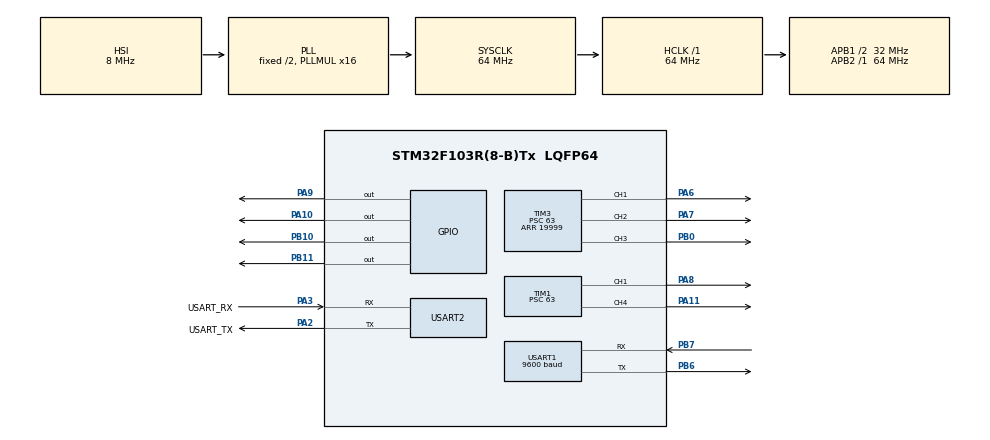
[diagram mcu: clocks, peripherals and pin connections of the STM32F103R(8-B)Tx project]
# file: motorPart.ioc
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Dma.Request0=USART1_RX
Dma.USART1_RX.0.Direction=DMA_PERIPH_TO_MEMORY
Dma.USART1_RX.0.Instance=DMA1_Channel5
Dma.USART1_RX.0.MemDataAlignment=DMA_MDATAALIGN_WORD
Dma.USART1_RX.0.MemInc=DMA_MINC_ENABLE
Dma.USART1_RX.0.Mode=DMA_CIRCULAR
Dma.USART1_RX.0.PeriphDataAlignment=DMA_PDATAALIGN_WORD
Dma.USART1_RX.0.PeriphInc=DMA_PINC_DISABLE
Dma.USART1_RX.0.Priority=DMA_PRIORITY_LOW
Mcu.Family=STM32F1
Mcu.Name=STM32F103R(8-B)Tx
Mcu.Package=LQFP64
NVIC.DMA1_Channel5_IRQn=true\:0\:0\:false\:false\:true\:false\:true\:true
NVIC.PriorityGroup=NVIC_PRIORITYGROUP_4
NVIC.USART1_IRQn=true\:0\:0\:false\:false\:true\:true\:true\:true
PA10.Signal=GPIO_Output
PA11.Signal=S_TIM1_CH4
PA13.GPIO_Label=TMS
PA13.Mode=Serial_Wire
PA13.Signal=SYS_JTMS-SWDIO
PA14.GPIO_Label=TCK
PA14.Mode=Serial_Wire
PA14.Signal=SYS_JTCK-SWCLK
PA2.GPIO_Label=USART_TX
PA2.GPIO_Mode=GPIO_MODE_AF_PP
PA2.GPIO_PuPd=GPIO_NOPULL
PA2.GPIO_Speed=GPIO_SPEED_FREQ_LOW
PA2.Mode=Asynchronous
PA2.Signal=USART2_TX
PA3.GPIO_Label=USART_RX
PA3.GPIO_Mode=GPIO_MODE_AF_PP
PA3.GPIO_PuPd=GPIO_NOPULL
PA3.GPIO_Speed=GPIO_SPEED_FREQ_LOW
PA3.Mode=Asynchronous
PA3.Signal=USART2_RX
PA6.Signal=S_TIM3_CH1
PA7.Signal=S_TIM3_CH2
PA8.Signal=S_TIM1_CH1
PA9.Signal=GPIO_Output
PB0.Signal=S_TIM3_CH3
PB10.Signal=GPIO_Output
PB11.Signal=GPIO_Output
PB3.GPIO_Label=SWO
PB3.Signal=SYS_JTDO-TRACESWO
PB6.Mode=Asynchronous
PB6.Signal=USART1_TX
PB7.Mode=Asynchronous
PB7.Signal=USART1_RX
PC14-OSC32_IN.Mode=LSE-External-Oscillator
PC14-OSC32_IN.Signal=RCC_OSC32_IN
PC15-OSC32_OUT.Mode=LSE-External-Oscillator
PC15-OSC32_OUT.Signal=RCC_OSC32_OUT
PD0-OSC_IN.Mode=HSE-External-Clock-Source
PD0-OSC_IN.Signal=RCC_OSC_IN
PD1-OSC_OUT.Mode=HSE-External-Clock-Source
PD1-OSC_OUT.Signal=RCC_OSC_OUT
ProjectManager.HeapSize=0x200
ProjectManager.StackSize=0x400
ProjectManager.TargetToolchain=STM32CubeIDE
RCC.AHBFreq_Value=64000000
RCC.APB1CLKDivider=RCC_HCLK_DIV2
RCC.APB1Freq_Value=32000000
RCC.APB1TimFreq_Value=64000000
RCC.APB2Freq_Value=64000000
RCC.APB2TimFreq_Value=64000000
RCC.HCLKFreq_Value=64000000
RCC.PLLMUL=RCC_PLL_MUL16
RCC.RTCClockSelection=RCC_RTCCLKSOURCE_LSE
RCC.SYSCLKFreq_VALUE=64000000
RCC.SYSCLKSource=RCC_SYSCLKSOURCE_PLLCLK
RCC.USBFreq_Value=64000000
SH.S_TIM1_CH1.0=TIM1_CH1,PWM Generation1 CH1
SH.S_TIM1_CH4.0=TIM1_CH4,PWM Generation4 CH4
SH.S_TIM3_CH1.0=TIM3_CH1,PWM Generation1 CH1
SH.S_TIM3_CH2.0=TIM3_CH2,PWM Generation2 CH2
SH.S_TIM3_CH3.0=TIM3_CH3,PWM Generation3 CH3
TIM1.Channel-PWM\ Generation1\ CH1=TIM_CHANNEL_1
TIM1.Channel-PWM\ Generation4\ CH4=TIM_CHANNEL_4
TIM1.Period=9999
TIM1.Prescaler=63
TIM1.Pulse-PWM\ Generation1\ CH1=1500
TIM1.Pulse-PWM\ Generation4\ CH4=1500
TIM3.Channel-PWM\ Generation1\ CH1=TIM_CHANNEL_1
TIM3.Channel-PWM\ Generation2\ CH2=TIM_CHANNEL_2
TIM3.Channel-PWM\ Generation3\ CH3=TIM_CHANNEL_3
TIM3.Period=19999
TIM3.Prescaler=63
TIM3.Pulse-PWM\ Generation1\ CH1=900
TIM3.Pulse-PWM\ Generation2\ CH2=2500
TIM3.Pulse-PWM\ Generation3\ CH3=1000
TIM4.Prescaler=63
USART1.BaudRate=9600
USART1.VirtualMode=VM_ASYNC
USART2.VirtualMode=VM_ASYNC
VP_TIM3_VS_ClockSourceINT.Mode=Internal
VP_TIM4_VS_ClockSourceINT.Mode=Internal
board=NUCLEO-F103RB

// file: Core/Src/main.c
/* USER CODE BEGIN Header */
/**
 ******************************************************************************
 * @file           : main.c
 * @brief          : Main program body
 ******************************************************************************
 * @attention
 *
 * Copyright (c) 2022 STMicroelectronics.
 * All rights reserved.
 *
 * This software is licensed under terms that can be found in the LICENSE file
 * in the root directory of this software component.
 * If no LICENSE file comes with this software, it is provided AS-IS.
 *
 ******************************************************************************
 */
/* USER CODE END Header */
#include "main.h"

/* USER CODE BEGIN Includes */
#include "string.h"
#include "stdbool.h"

/* USER CODE END Includes */

 TIM_HandleTypeDef htim1;
TIM_HandleTypeDef htim3;
TIM_HandleTypeDef htim4;

UART_HandleTypeDef huart1;
UART_HandleTypeDef huart2;
DMA_HandleTypeDef hdma_usart1_rx;

/* USER CODE BEGIN PV */
int step;
int survo1;
int survo2;
int survo3;
int wheel_X;
int wheel_Y;
int delay_time = 0;
int survo1Idx = 0;
int survo2Idx = 0;
int survo3Idx = 0;
int motor[7];
//={0,0,0,0,0,0,3}
int tmp_motor[7];
int dataSize;
int _step;
bool dir = true;
/* USER CODE END PV */

void SystemClock_Config(void);
static void MX_GPIO_Init(void);
static void MX_USART2_UART_Init(void);
static void MX_DMA_Init(void);
static void MX_USART1_UART_Init(void);
static void MX_TIM3_Init(void);
static void MX_TIM1_Init(void);
static void MX_TIM4_Init(void);

/* USER CODE BEGIN 0 */
//void control_stepMotor(int joystick1_X) {
//	if (joystick1_X == 1) {
//		TIM1->CCER = 784; // counterclockwise
//		TIM1->CCR2 = 5000;
//		TIM1->CCR3 = 5000;
//		TIM2->CCR3 = 5000;
//		TIM2->CCR4 = 5000;
//	} else if (joystick1_X == 0) {
//		TIM1->CCER = 0;
//		TIM1->CCR2 = 0;
//		TIM1->CCR3 = 0;
//		TIM2->CCR3 = 0;
//		TIM2->CCR4 = 0;
//	} else if (joystick1_X == 2) {
//		TIM1->CCER = 306; // clockwise
//		TIM1->CCR2 = 5000;
//		TIM1->CCR3 = 5000;
//		TIM2->CCR3 = 5000;
//		TIM2->CCR4 = 5000;
//	}
//	if (joystick1_X == 1) {
//		TIM1->CCER |= 0x02; // counterclockwise
//		TIM1->CCR2 = 5000;
//		TIM1->CCR3 = 5000;
//		TIM2->CCR3 = 5000;
//		TIM2->CCR4 = 5000;
//	} else if (joystick1_X == 0) {
//
//		TIM1->CCR2 = 0;
//		TIM1->CCR3 = 0;
//		TIM2->CCR3 = 0;
//		TIM2->CCR4 = 0;
//	} else if (joystick1_X == 2) {
//		TIM1->CCER &= ~0x02; // clockwise
//		TIM1->CCR2 = 5000;
//		TIM1->CCR3 = 5000;
//		TIM2->CCR3 = 5000;
//		TIM2->CCR4 = 5000;
//	}
//}
void us_delay(uint16_t delay) {
	TIM4->CNT = 0;
	while (TIM4->CNT < delay)
		;
}

void control_stepMotor(int joystick1_X) {

	if (joystick1_X == 1) { // counterclockwise
		dir = true;
	} else if (joystick1_X == 0) { // stop
		_step = 9;
	} else if (joystick1_X == 2) { // clockwise
		dir = false;
	}
	switch (_step) {
		case 0:
			HAL_GPIO_WritePin(GPIOA, GPIO_PIN_9, GPIO_PIN_SET);
			HAL_GPIO_WritePin(GPIOB, GPIO_PIN_10, GPIO_PIN_RESET);
			HAL_GPIO_WritePin(GPIOA, GPIO_PIN_10, GPIO_PIN_RESET);
			HAL_GPIO_WritePin(GPIOB, GPIO_PIN_11, GPIO_PIN_RESET);
			break;
		case 1:
			HAL_GPIO_WritePin(GPIOA, GPIO_PIN_9, GPIO_PIN_SET);
			HAL_GPIO_WritePin(GPIOB, GPIO_PIN_10, GPIO_PIN_SET);
			HAL_GPIO_WritePin(GPIOA, GPIO_PIN_10, GPIO_PIN_RESET);
			HAL_GPIO_WritePin(GPIOB, GPIO_PIN_11, GPIO_PIN_RESET);
			break;
		case 2:
			HAL_GPIO_WritePin(GPIOA, GPIO_PIN_9, GPIO_PIN_RESET);
			HAL_GPIO_WritePin(GPIOB, GPIO_PIN_10, GPIO_PIN_SET);
			HAL_GPIO_WritePin(GPIOA, GPIO_PIN_10, GPIO_PIN_RESET);
			HAL_GPIO_WritePin(GPIOB, GPIO_PIN_11, GPIO_PIN_RESET);
			break;
		case 3:
			HAL_GPIO_WritePin(GPIOA, GPIO_PIN_9, GPIO_PIN_RESET);
			HAL_GPIO_WritePin(GPIOB, GPIO_PIN_10, GPIO_PIN_SET);
			HAL_GPIO_WritePin(GPIOA, GPIO_PIN_10, GPIO_PIN_SET);
			HAL_GPIO_WritePin(GPIOB, GPIO_PIN_11, GPIO_PIN_RESET);
			break;
		case 4:
			HAL_GPIO_WritePin(GPIOA, GPIO_PIN_9, GPIO_PIN_RESET);
			HAL_GPIO_WritePin(GPIOB, GPIO_PIN_10, GPIO_PIN_RESET);
			HAL_GPIO_WritePin(GPIOA, GPIO_PIN_10, GPIO_PIN_SET);
			HAL_GPIO_WritePin(GPIOB, GPIO_PIN_11, GPIO_PIN_RESET);
			break;
		case 5:
			HAL_GPIO_WritePin(GPIOA, GPIO_PIN_9, GPIO_PIN_RESET);
			HAL_GPIO_WritePin(GPIOB, GPIO_PIN_10, GPIO_PIN_RESET);
			HAL_GPIO_WritePin(GPIOA, GPIO_PIN_10, GPIO_PIN_SET);
			HAL_GPIO_WritePin(GPIOB, GPIO_PIN_11, GPIO_PIN_SET);
			break;
		case 6:
			HAL_GPIO_WritePin(GPIOA, GPIO_PIN_9, GPIO_PIN_RESET);
			HAL_GPIO_WritePin(GPIOB, GPIO_PIN_10, GPIO_PIN_RESET);
			HAL_GPIO_WritePin(GPIOA, GPIO_PIN_10, GPIO_PIN_RESET);
			HAL_GPIO_WritePin(GPIOB, GPIO_PIN_11, GPIO_PIN_SET);
			break;
		case 7:
			HAL_GPIO_WritePin(GPIOA, GPIO_PIN_9, GPIO_PIN_SET);
			HAL_GPIO_WritePin(GPIOB, GPIO_PIN_10, GPIO_PIN_RESET);
			HAL_GPIO_WritePin(GPIOA, GPIO_PIN_10, GPIO_PIN_RESET);
			HAL_GPIO_WritePin(GPIOB, GPIO_PIN_11, GPIO_PIN_SET);
			break;
		default:
			HAL_GPIO_WritePin(GPIOA, GPIO_PIN_9, GPIO_PIN_RESET);
			HAL_GPIO_WritePin(GPIOB, GPIO_PIN_10, GPIO_PIN_RESET);
			HAL_GPIO_WritePin(GPIOA, GPIO_PIN_10, GPIO_PIN_RESET);
			HAL_GPIO_WritePin(GPIOB, GPIO_PIN_11, GPIO_PIN_RESET);
			break;
	}
	if (dir)
		_step++;
	else
		_step--;

	if (_step == 8)
		_step = 0;
	if (_step < 0)
		_step = 7;
	us_delay(2441);
}

void control_survoMotor(int joystick1_Y, int joystick2_X, int joystick2_Y) {
	//servo1
	if (joystick1_Y == 1) {
		TIM3->CCR1 = 899 + survo1Idx * 1;
		survo1Idx--;
		if (survo1Idx < 0)
			survo1Idx = 0;
	}
	else if (joystick1_Y == 2) {
		TIM3->CCR1 = 899 + survo1Idx * 1;
		survo1Idx++;
		if (survo1Idx > 999)
			survo1Idx = 999;
	}

	//servo2
	if (joystick2_X == 1) {
		TIM3->CCR2 = 699 + survo2Idx * 1.5;
		survo2Idx--;
		if (survo2Idx < 0)
			survo2Idx = 0;
	}
	else if (joystick2_X == 2) {
		TIM3->CCR2 = 699 + survo2Idx * 1.5;
		survo2Idx++;
		if (survo2Idx > 1799)
			survo2Idx = 1799;
	}

	//servo3
	if (joystick2_Y == 1) {
		TIM3->CCR3 = 999 + survo3Idx * 2;
		survo3Idx--;
		if (survo3Idx < 0)
			survo3Idx = 0;
	}
	else if (joystick2_Y == 2) {
		TIM3->CCR3 = 999 + survo3Idx * 2;
		survo3Idx++;
		if (survo3Idx > 750)
			survo3Idx = 750;
	}
}

void control_wheel(int joystick_X, int joystick_Y) {

	if ((joystick_X == 0) && (joystick_Y == 0)) { //STOP
		TIM1->CCR1 = 1500;
		TIM1->CCR4 = 1500;
	}
	if ((joystick_X == 0) && (joystick_Y == 1)) { //Go
		TIM1->CCR1 = 1700; //+200
		TIM1->CCR4 = 1300; //-200
	}
	if ((joystick_X == 1) && (joystick_Y == 1)) { //Go Left
		TIM1->CCR1 = 1600; //+100
		TIM1->CCR4 = 1300; //-200
	}
	if ((joystick_X == 2) && (joystick_Y == 1)) { //Go Right
		TIM1->CCR1 = 1700; //+200
		TIM1->CCR4 = 1400; //-100
	}
	if ((joystick_X == 1) && (joystick_Y == 0)) { //Left
		TIM1->CCR1 = 1300; //-200
		TIM1->CCR4 = 1300; //-200
	}
	if ((joystick_X == 2) && (joystick_Y == 0)) { //Right
		TIM1->CCR1 = 1700; //+200
		TIM1->CCR4 = 1700; //+200
	}
	if ((joystick_X == 0) && (joystick_Y == 2)) { //Back
		TIM1->CCR1 = 1400; //-100
		TIM1->CCR4 = 1600; //+100
	}
	if ((joystick_X == 1) && (joystick_Y == 2)) { //Back Left
		TIM1->CCR1 = 1450; //-50
		TIM1->CCR4 = 1600; //+100
	}
	if ((joystick_X == 2) && (joystick_Y == 2)) { //Back Right
		TIM1->CCR1 = 1400; //-100
		TIM1->CCR4 = 1550; //+50
	}
}

#ifdef __GNUC__
/* With GCC, small printf (option LD Linker->Libraries->Small printf
 set to 'Yes') calls __io_putchar() */
#define PUTCHAR_PROTOTYPE int __io_putchar(int ch)
#else
#define PUTCHAR_PROTOTYPE int fputc(int ch, FILE *f)
#endif /* __GNUC__ */

PUTCHAR_PROTOTYPE {
	/* Place your implementation of fputc here */
	/* e.g. write a character to the USART1 and Loop until the end of transmission */
	HAL_UART_Transmit(&huart2, (uint8_t*) &ch, 1, 0xFFFF);

	return ch;
}
//void HAL_UART_RxCpltCallback(UART_HandleTypeDef *huart)
//{
//	printf("%s\r\n",data);
//
//	HAL_UART_Receive_IT(huart, data, 14);
//
//}

/* USER CODE END 0 */

int main(void)
{

  /* MCU Configuration--------------------------------------------------------*/

  /* Reset of all peripherals, Initializes the Flash interface and the Systick. */
  HAL_Init();

  /* Configure the system clock */
  SystemClock_Config();

  /* Initialize all configured peripherals */
  MX_GPIO_Init();
  MX_USART2_UART_Init();
  MX_DMA_Init();
  MX_USART1_UART_Init();
  MX_TIM3_Init();
  MX_TIM1_Init();
  MX_TIM4_Init();
  /* USER CODE BEGIN 2 */
//	HAL_TIM_PWM_Start(&htim1, TIM_CHANNEL_2);
//	HAL_TIM_PWM_Start(&htim1, TIM_CHANNEL_3);
//	HAL_TIM_PWM_Start(&htim2, TIM_CHANNEL_3);
//	HAL_TIM_PWM_Start(&htim2, TIM_CHANNEL_4);
	HAL_TIM_Base_Start(&htim4);
	HAL_TIM_PWM_Start(&htim3, TIM_CHANNEL_1);
	HAL_TIM_PWM_Start(&htim3, TIM_CHANNEL_2);
	HAL_TIM_PWM_Start(&htim3, TIM_CHANNEL_3);
	HAL_TIM_PWM_Start(&htim1, TIM_CHANNEL_1);
	HAL_TIM_PWM_Start(&htim1, TIM_CHANNEL_4);
	//HAL_UART_Receive_DMA(&huart1, motor, 7);
	uint8_t flag;
	int cnt = 0;
	HAL_UART_Receive_DMA(&huart1, tmp_motor, 7);

//
//	while(cnt==0)
//	{
//		for(int idx = 0; idx < 7; idx++) {
//			if(data[idx] == 9) {
//				end_idx = idx;
//				break;
//			}
//		}
//		for(int idx = 6; idx >= 0; idx--) {
//			end_idx -= 1;
//			if(end_idx < 0) end_idx += 7;
//			motor[idx] = data[end_idx];
//		}
//
//
//	}
//	HAL_UART_Receive_IT(&huart1, data, 14);

  /* USER CODE END 2 */

  /* Infinite loop */
	while (1) {

    /* USER CODE BEGIN 3 */
//		while(motor[6]!=3){
//			DMA1_Channel5 -> CCR = 0;
//			DMA1_Channel5 -> CMAR = motor[6];
//			for(int idx = 0; idx<7;idx++)
//			{
//				motor[idx] = 0;
//			}
//			printf("fjdskljfkdsl\r\n");
//			HAL_UART_Receive_DMA(&huart1, motor, 7);
//		}
		for(int idx = 0;idx<7;idx++)
		{
			if(tmp_motor[idx]==3)
				{
					flag = idx;
					break;
				}
		}

		for(int jdx = 0; jdx<7;jdx++)
		{
			flag=(flag+1)%7;

			motor[jdx]=tmp_motor[flag];
		}
//		if(motor[6]==3)
//		{
//		if(motor[6]!=3)
//		{
//			HAL_UART_Transmit(&huart1, flag, 4,0xff);
//			printf("11  %d %d %d %d %d %d %d\r\n", motor[0], motor[1], motor[2],
//					motor[3], motor[4], motor[5], motor[6]);
//		}
		control_stepMotor(motor[2]);
		control_survoMotor(motor[3], motor[4], motor[5]);
		control_wheel(motor[0], motor[1]);
		printf("%d %d %d %d %d %d %d\r\n", motor[0], motor[1], motor[2],
				motor[3], motor[4], motor[5], motor[6]);

//		HAL_Delay(20);

	}
  /* USER CODE END 3 */
}

void SystemClock_Config(void)
{
  RCC_OscInitTypeDef RCC_OscInitStruct = {0};
  RCC_ClkInitTypeDef RCC_ClkInitStruct = {0};

  /** Initializes the RCC Oscillators according to the specified parameters
  * in the RCC_OscInitTypeDef structure.
  */
  RCC_OscInitStruct.OscillatorType = RCC_OSCILLATORTYPE_HSI;
  RCC_OscInitStruct.HSIState = RCC_HSI_ON;
  RCC_OscInitStruct.HSICalibrationValue = RCC_HSICALIBRATION_DEFAULT;
  RCC_OscInitStruct.PLL.PLLState = RCC_PLL_ON;
  RCC_OscInitStruct.PLL.PLLSource = RCC_PLLSOURCE_HSI_DIV2;
  RCC_OscInitStruct.PLL.PLLMUL = RCC_PLL_MUL16;
  if (HAL_RCC_OscConfig(&RCC_OscInitStruct) != HAL_OK)
  {
    Error_Handler();
  }

  /** Initializes the CPU, AHB and APB buses clocks
  */
  RCC_ClkInitStruct.ClockType = RCC_CLOCKTYPE_HCLK|RCC_CLOCKTYPE_SYSCLK
                              |RCC_CLOCKTYPE_PCLK1|RCC_CLOCKTYPE_PCLK2;
  RCC_ClkInitStruct.SYSCLKSource = RCC_SYSCLKSOURCE_PLLCLK;
  RCC_ClkInitStruct.AHBCLKDivider = RCC_SYSCLK_DIV1;
  RCC_ClkInitStruct.APB1CLKDivider = RCC_HCLK_DIV2;
  RCC_ClkInitStruct.APB2CLKDivider = RCC_HCLK_DIV1;

  if (HAL_RCC_ClockConfig(&RCC_ClkInitStruct, FLASH_LATENCY_2) != HAL_OK)
  {
    Error_Handler();
  }
}

static void MX_TIM1_Init(void)
{

  TIM_MasterConfigTypeDef sMasterConfig = {0};
  TIM_OC_InitTypeDef sConfigOC = {0};
  TIM_BreakDeadTimeConfigTypeDef sBreakDeadTimeConfig = {0};

  htim1.Instance = TIM1;
  htim1.Init.Prescaler = 63;
  htim1.Init.CounterMode = TIM_COUNTERMODE_UP;
  htim1.Init.Period = 9999;
  htim1.Init.ClockDivision = TIM_CLOCKDIVISION_DIV1;
  htim1.Init.RepetitionCounter = 0;
  htim1.Init.AutoReloadPreload = TIM_AUTORELOAD_PRELOAD_DISABLE;
  if (HAL_TIM_PWM_Init(&htim1) != HAL_OK)
  {
    Error_Handler();
  }
  sMasterConfig.MasterOutputTrigger = TIM_TRGO_RESET;
  sMasterConfig.MasterSlaveMode = TIM_MASTERSLAVEMODE_DISABLE;
  if (HAL_TIMEx_MasterConfigSynchronization(&htim1, &sMasterConfig) != HAL_OK)
  {
    Error_Handler();
  }
  sConfigOC.OCMode = TIM_OCMODE_PWM1;
  sConfigOC.Pulse = 1500;
  sConfigOC.OCPolarity = TIM_OCPOLARITY_HIGH;
  sConfigOC.OCNPolarity = TIM_OCNPOLARITY_HIGH;
  sConfigOC.OCFastMode = TIM_OCFAST_DISABLE;
  sConfigOC.OCIdleState = TIM_OCIDLESTATE_RESET;
  sConfigOC.OCNIdleState = TIM_OCNIDLESTATE_RESET;
  if (HAL_TIM_PWM_ConfigChannel(&htim1, &sConfigOC, TIM_CHANNEL_1) != HAL_OK)
  {
    Error_Handler();
  }
  if (HAL_TIM_PWM_ConfigChannel(&htim1, &sConfigOC, TIM_CHANNEL_4) != HAL_OK)
  {
    Error_Handler();
  }
  sBreakDeadTimeConfig.OffStateRunMode = TIM_OSSR_DISABLE;
  sBreakDeadTimeConfig.OffStateIDLEMode = TIM_OSSI_DISABLE;
  sBreakDeadTimeConfig.LockLevel = TIM_LOCKLEVEL_OFF;
  sBreakDeadTimeConfig.DeadTime = 0;
  sBreakDeadTimeConfig.BreakState = TIM_BREAK_DISABLE;
  sBreakDeadTimeConfig.BreakPolarity = TIM_BREAKPOLARITY_HIGH;
  sBreakDeadTimeConfig.AutomaticOutput = TIM_AUTOMATICOUTPUT_DISABLE;
  if (HAL_TIMEx_ConfigBreakDeadTime(&htim1, &sBreakDeadTimeConfig) != HAL_OK)
  {
    Error_Handler();
  }
  HAL_TIM_MspPostInit(&htim1);

}

static void MX_TIM3_Init(void)
{

  TIM_ClockConfigTypeDef sClockSourceConfig = {0};
  TIM_MasterConfigTypeDef sMasterConfig = {0};
  TIM_OC_InitTypeDef sConfigOC = {0};

  htim3.Instance = TIM3;
  htim3.Init.Prescaler = 63;
  htim3.Init.CounterMode = TIM_COUNTERMODE_UP;
  htim3.Init.Period = 19999;
  htim3.Init.ClockDivision = TIM_CLOCKDIVISION_DIV1;
  htim3.Init.AutoReloadPreload = TIM_AUTORELOAD_PRELOAD_DISABLE;
  if (HAL_TIM_Base_Init(&htim3) != HAL_OK)
  {
    Error_Handler();
  }
  sClockSourceConfig.ClockSource = TIM_CLOCKSOURCE_INTERNAL;
  if (HAL_TIM_ConfigClockSource(&htim3, &sClockSourceConfig) != HAL_OK)
  {
    Error_Handler();
  }
  if (HAL_TIM_PWM_Init(&htim3) != HAL_OK)
  {
    Error_Handler();
  }
  sMasterConfig.MasterOutputTrigger = TIM_TRGO_RESET;
  sMasterConfig.MasterSlaveMode = TIM_MASTERSLAVEMODE_DISABLE;
  if (HAL_TIMEx_MasterConfigSynchronization(&htim3, &sMasterConfig) != HAL_OK)
  {
    Error_Handler();
  }
  sConfigOC.OCMode = TIM_OCMODE_PWM1;
  sConfigOC.Pulse = 900;
  sConfigOC.OCPolarity = TIM_OCPOLARITY_HIGH;
  sConfigOC.OCFastMode = TIM_OCFAST_DISABLE;
  if (HAL_TIM_PWM_ConfigChannel(&htim3, &sConfigOC, TIM_CHANNEL_1) != HAL_OK)
  {
    Error_Handler();
  }
  sConfigOC.Pulse = 2500;
  if (HAL_TIM_PWM_ConfigChannel(&htim3, &sConfigOC, TIM_CHANNEL_2) != HAL_OK)
  {
    Error_Handler();
  }
  sConfigOC.Pulse = 1000;
  if (HAL_TIM_PWM_ConfigChannel(&htim3, &sConfigOC, TIM_CHANNEL_3) != HAL_OK)
  {
    Error_Handler();
  }
  HAL_TIM_MspPostInit(&htim3);

}

static void MX_TIM4_Init(void)
{

  TIM_ClockConfigTypeDef sClockSourceConfig = {0};
  TIM_MasterConfigTypeDef sMasterConfig = {0};

  htim4.Instance = TIM4;
  htim4.Init.Prescaler = 63;
  htim4.Init.CounterMode = TIM_COUNTERMODE_UP;
  htim4.Init.Period = 65535;
  htim4.Init.ClockDivision = TIM_CLOCKDIVISION_DIV1;
  htim4.Init.AutoReloadPreload = TIM_AUTORELOAD_PRELOAD_DISABLE;
  if (HAL_TIM_Base_Init(&htim4) != HAL_OK)
  {
    Error_Handler();
  }
  sClockSourceConfig.ClockSource = TIM_CLOCKSOURCE_INTERNAL;
  if (HAL_TIM_ConfigClockSource(&htim4, &sClockSourceConfig) != HAL_OK)
  {
    Error_Handler();
  }
  sMasterConfig.MasterOutputTrigger = TIM_TRGO_RESET;
  sMasterConfig.MasterSlaveMode = TIM_MASTERSLAVEMODE_DISABLE;
  if (HAL_TIMEx_MasterConfigSynchronization(&htim4, &sMasterConfig) != HAL_OK)
  {
    Error_Handler();
  }

}

static void MX_USART1_UART_Init(void)
{

  huart1.Instance = USART1;
  huart1.Init.BaudRate = 9600;
  huart1.Init.WordLength = UART_WORDLENGTH_8B;
  huart1.Init.StopBits = UART_STOPBITS_1;
  huart1.Init.Parity = UART_PARITY_NONE;
  huart1.Init.Mode = UART_MODE_TX_RX;
  huart1.Init.HwFlowCtl = UART_HWCONTROL_NONE;
  huart1.Init.OverSampling = UART_OVERSAMPLING_16;
  if (HAL_UART_Init(&huart1) != HAL_OK)
  {
    Error_Handler();
  }

}

static void MX_USART2_UART_Init(void)
{

  huart2.Instance = USART2;
  huart2.Init.BaudRate = 115200;
  huart2.Init.WordLength = UART_WORDLENGTH_8B;
  huart2.Init.StopBits = UART_STOPBITS_1;
  huart2.Init.Parity = UART_PARITY_NONE;
  huart2.Init.Mode = UART_MODE_TX_RX;
  huart2.Init.HwFlowCtl = UART_HWCONTROL_NONE;
  huart2.Init.OverSampling = UART_OVERSAMPLING_16;
  if (HAL_UART_Init(&huart2) != HAL_OK)
  {
    Error_Handler();
  }

}

static void MX_DMA_Init(void)
{

  /* DMA controller clock enable */
  __HAL_RCC_DMA1_CLK_ENABLE();

  /* DMA interrupt init */
  /* DMA1_Channel5_IRQn interrupt configuration */
  HAL_NVIC_SetPriority(DMA1_Channel5_IRQn, 0, 0);
  HAL_NVIC_EnableIRQ(DMA1_Channel5_IRQn);

}

static void MX_GPIO_Init(void)
{
  GPIO_InitTypeDef GPIO_InitStruct = {0};

  /* GPIO Ports Clock Enable */
  __HAL_RCC_GPIOC_CLK_ENABLE();
  __HAL_RCC_GPIOD_CLK_ENABLE();
  __HAL_RCC_GPIOA_CLK_ENABLE();
  __HAL_RCC_GPIOB_CLK_ENABLE();

  /*Configure GPIO pin Output Level */
  HAL_GPIO_WritePin(GPIOB, GPIO_PIN_10|GPIO_PIN_11, GPIO_PIN_RESET);

  /*Configure GPIO pin Output Level */
  HAL_GPIO_WritePin(GPIOA, GPIO_PIN_9|GPIO_PIN_10, GPIO_PIN_RESET);

  /*Configure GPIO pins : PB10 PB11 */
  GPIO_InitStruct.Pin = GPIO_PIN_10|GPIO_PIN_11;
  GPIO_InitStruct.Mode = GPIO_MODE_OUTPUT_PP;
  GPIO_InitStruct.Pull = GPIO_NOPULL;
  GPIO_InitStruct.Speed = GPIO_SPEED_FREQ_LOW;
  HAL_GPIO_Init(GPIOB, &GPIO_InitStruct);

  /*Configure GPIO pins : PA9 PA10 */
  GPIO_InitStruct.Pin = GPIO_PIN_9|GPIO_PIN_10;
  GPIO_InitStruct.Mode = GPIO_MODE_OUTPUT_PP;
  GPIO_InitStruct.Pull = GPIO_NOPULL;
  GPIO_InitStruct.Speed = GPIO_SPEED_FREQ_LOW;
  HAL_GPIO_Init(GPIOA, &GPIO_InitStruct);

}

void Error_Handler(void)
{
	__disable_irq();
	while (1) {
	}
}
